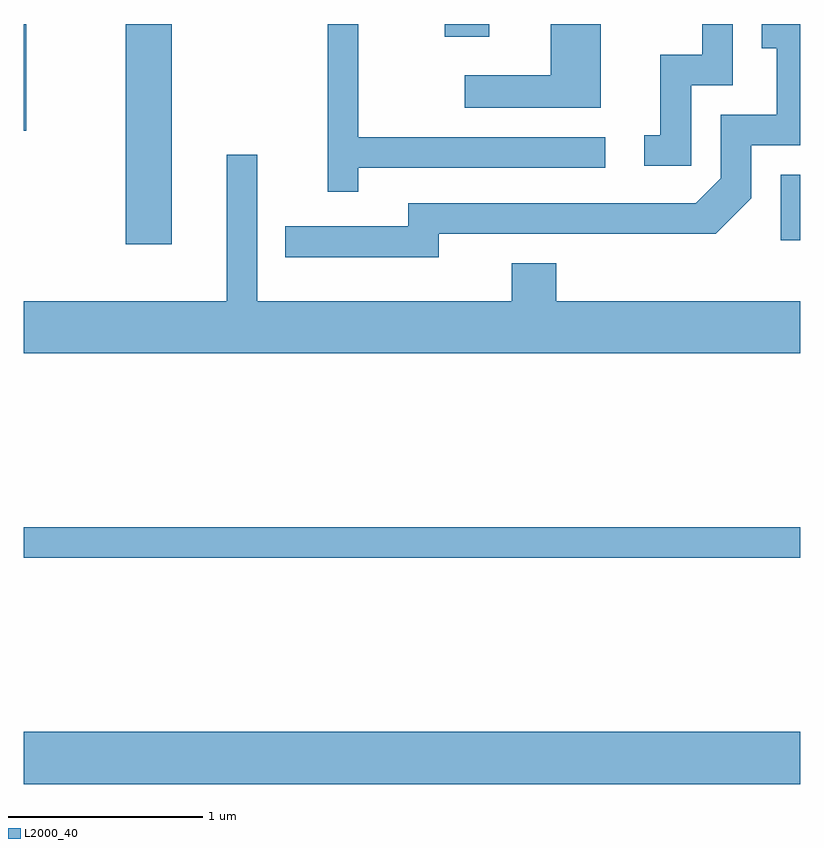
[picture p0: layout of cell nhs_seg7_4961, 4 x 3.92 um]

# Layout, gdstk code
import gdstk
lib = gdstk.Library(unit=1e-6, precision=1e-09)
def R(c, l, rs):  # rectangles x0, y0, x1, y1
    for r in rs: c.add(gdstk.rectangle(r[:2], r[2:], *l))
def P(c, l, *ps):  # polygons
    for p in ps: c.add(gdstk.Polygon(p, *l))
L2000_40 = (2000, 40)

nhs_seg7_4961 = lib.new_cell('nhs_seg7_4961')
R(nhs_seg7_4961, L2000_40, [(337.611,1694.336,341.611,1694.604), (337.611,1695.501,341.611,1695.659), (338.136,1697.116,338.374,1698.252), (341.511,1697.138,341.611,1697.474), (337.611,1697.701,337.624,1698.252), (339.781,1698.186,340.009,1698.252)])
P(nhs_seg7_4961, L2000_40, [(341.049,1697.936),(341.264,1697.936),(341.264,1698.252),(341.106,1698.252),(341.106,1698.094),(340.891,1698.094),(340.891,1697.679),(340.808,1697.679),(340.808,1697.521),(341.049,1697.521)],
  [(339.749,1697.171),(341.177,1697.171),(341.359,1697.354),(341.359,1697.626),(341.611,1697.626),(341.611,1698.252),(341.413,1698.252),(341.413,1698.126),(341.491,1698.126),(341.491,1697.784),(341.201,1697.784),(341.201,1697.457),(341.074,1697.329),(339.591,1697.329),(339.591,1697.209),(338.958,1697.209),(338.958,1697.051),(339.749,1697.051)],
  [(339.334,1697.511),(340.608,1697.511),(340.608,1697.669),(339.334,1697.669),(339.334,1698.252),(339.176,1698.252),(339.176,1697.388),(339.334,1697.388)],
  [(340.584,1698.252),(340.326,1698.252),(340.326,1697.989),(339.883,1697.989),(339.883,1697.821),(340.584,1697.821)],
  [(341.611,1696.824),(340.354,1696.824),(340.354,1697.019),(340.126,1697.019),(340.126,1696.824),(338.814,1696.824),(338.814,1697.578),(338.656,1697.578),(338.656,1696.824),(337.611,1696.824),(337.611,1696.556),(341.611,1696.556)])

lib.write_gds('nhs_seg7_4961.gds')
